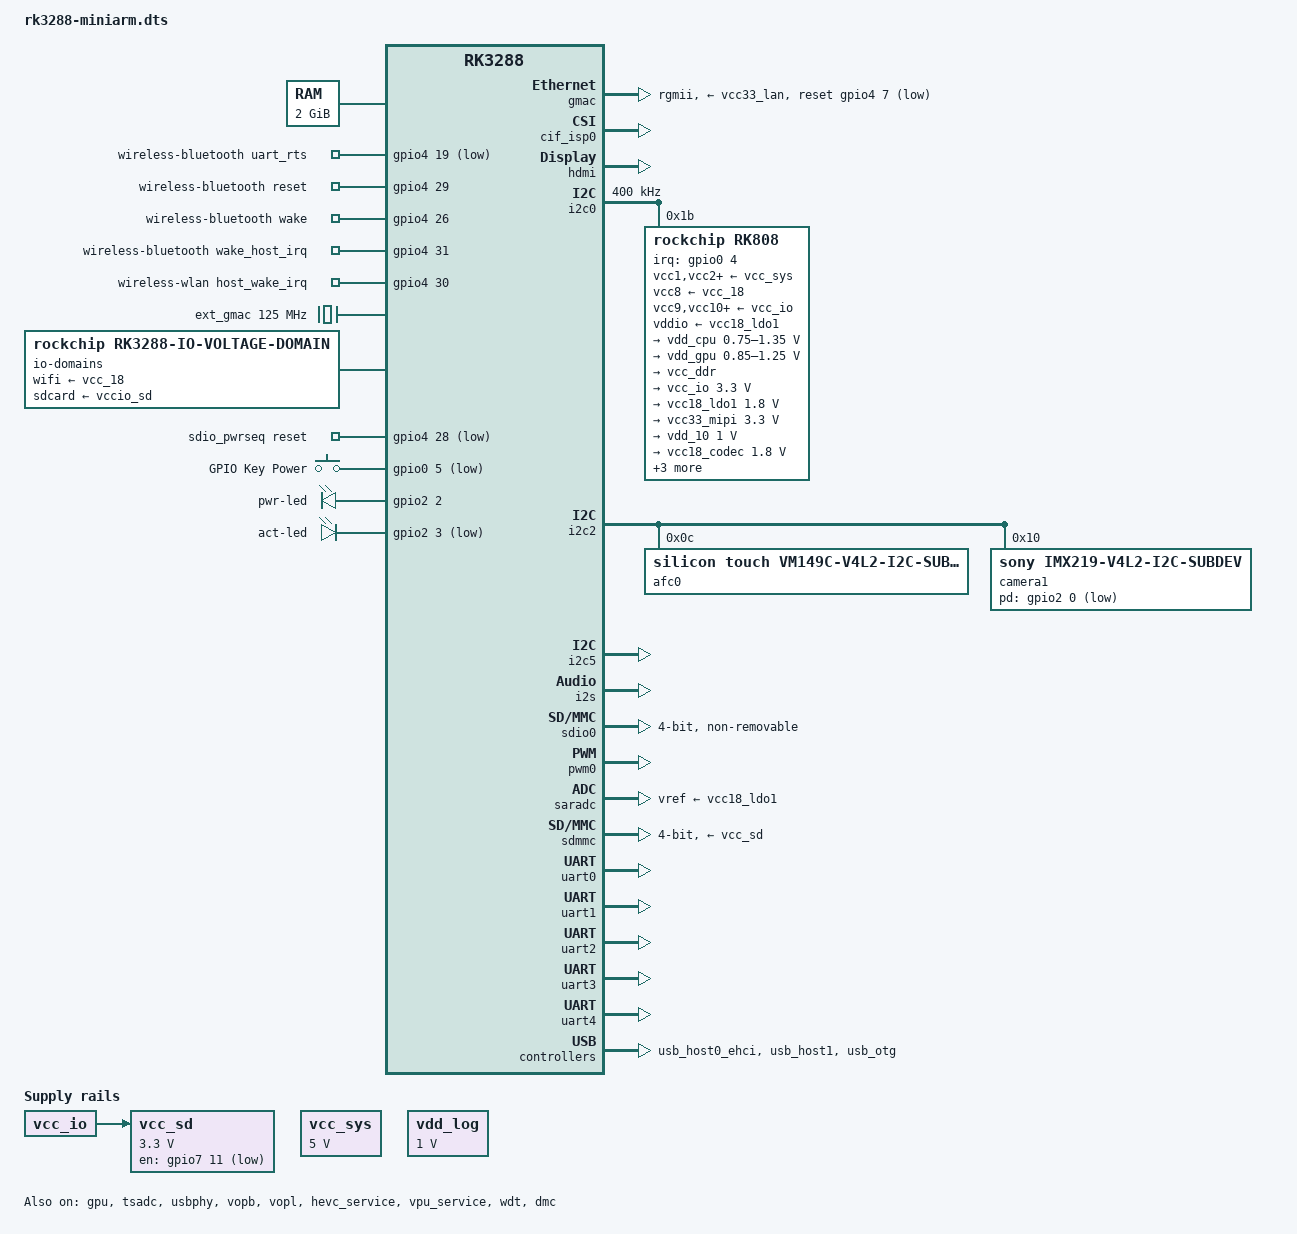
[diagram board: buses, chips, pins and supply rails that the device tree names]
/*
 * This file is dual-licensed: you can use it either under the terms
 * of the GPL or the X11 license, at your option. Note that this dual
 * licensing only applies to this file, and not this project as a
 * whole.
 *
 *  a) This file is free software; you can redistribute it and/or
 *     modify it under the terms of the GNU General Public License as
 *     published by the Free Software Foundation; either version 2 of the
 *     License, or (at your option) any later version.
 *
 *     This file is distributed in the hope that it will be useful,
 *     but WITHOUT ANY WARRANTY; without even the implied warranty of
 *     MERCHANTABILITY or FITNESS FOR A PARTICULAR PURPOSE.  See the
 *     GNU General Public License for more details.
 *
 * Or, alternatively,
 *
 *  b) Permission is hereby granted, free of charge, to any person
 *     obtaining a copy of this software and associated documentation
 *     files (the "Software"), to deal in the Software without
 *     restriction, including without limitation the rights to use,
 *     copy, modify, merge, publish, distribute, sublicense, and/or
 *     sell copies of the Software, and to permit persons to whom the
 *     Software is furnished to do so, subject to the following
 *     conditions:
 *
 *     The above copyright notice and this permission notice shall be
 *     included in all copies or substantial portions of the Software.
 *
 *     THE SOFTWARE IS PROVIDED "AS IS", WITHOUT WARRANTY OF ANY KIND,
 *     EXPRESS OR IMPLIED, INCLUDING BUT NOT LIMITED TO THE WARRANTIES
 *     OF MERCHANTABILITY, FITNESS FOR A PARTICULAR PURPOSE AND
 *     NONINFRINGEMENT. IN NO EVENT SHALL THE AUTHORS OR COPYRIGHT
 *     HOLDERS BE LIABLE FOR ANY CLAIM, DAMAGES OR OTHER LIABILITY,
 *     WHETHER IN AN ACTION OF CONTRACT, TORT OR OTHERWISE, ARISING
 *     FROM, OUT OF OR IN CONNECTION WITH THE SOFTWARE OR THE USE OR
 *     OTHER DEALINGS IN THE SOFTWARE.
 */

/dts-v1/;

#include <dt-bindings/clock/rockchip,rk808.h>
#include "rk3288.dtsi"

/ {
	compatible = "rockchip,rk3288-miniarm", "rockchip,rk3288";

	ion {
		compatible = "rockchip,ion";
		#address-cells = <1>;
		#size-cells = <0>;

		cma-heap {
			reg = <0x78000000 0x08000000>;
		};

		system-heap {
		};
	};

	memory {
		device_type = "memory";
		reg = <0x0 0x80000000>;
	};

	wireless-bluetooth {
		compatible = "bluetooth-platdata";
		uart_rts_gpios = <&gpio4 19 GPIO_ACTIVE_LOW>;
		pinctrl-names = "default","rts_gpio";
		pinctrl-0 = <&uart0_rts>;
		pinctrl-1 = <&uart0_gpios>;
		BT,reset_gpio    = <&gpio4 29 GPIO_ACTIVE_HIGH>;
		BT,wake_gpio     = <&gpio4 26 GPIO_ACTIVE_HIGH>;
		BT,wake_host_irq = <&gpio4 31 GPIO_ACTIVE_HIGH>;
		status = "okay";
	};

	wireless-wlan {
		compatible = "wlan-platdata";
		rockchip,grf = <&grf>;
		wifi_chip_type = "ap6212";
		sdio_vref = <1800>;
		WIFI,host_wake_irq = <&gpio4 30 GPIO_ACTIVE_HIGH>;
		status = "okay";
	};

	ext_gmac: external-gmac-clock {
		compatible = "fixed-clock";
		clock-frequency = <125000000>;
		clock-output-names = "ext_gmac";
		#clock-cells = <0>;
	};

	io-domains {
		compatible = "rockchip,rk3288-io-voltage-domain";
		rockchip,grf = <&grf>;
		wifi-supply = <&vcc_18>;
		sdcard-supply = <&vccio_sd>;
	};

	sdio_pwrseq: sdio-pwrseq {
		compatible = "mmc-pwrseq-simple";
		clocks = <&rk808 RK808_CLKOUT1>;
		clock-names = "ext_clock";
		pinctrl-names = "default";
		pinctrl-0 = <&wifi_enable_h>;

		/*
		 * On the module itself this is one of these (depending
		 * on the actual card populated):
		 * - SDIO_RESET_L_WL_REG_ON
		 * - PDN (power down when low)
		 */
		reset-gpios = <&gpio4 28 GPIO_ACTIVE_LOW>;
	};

	gpio-keys {
		compatible = "gpio-keys";
		#address-cells = <1>;
		#size-cells = <0>;
		autorepeat;

		pinctrl-names = "default";
		pinctrl-0 = <&pwrbtn>;

		button@0 {
			gpios = <&gpio0 5 GPIO_ACTIVE_LOW>;
			linux,code = <116>;
			label = "GPIO Key Power";
			linux,input-type = <1>;
			gpio-key,wakeup = <1>;
			debounce-interval = <100>;
		};
	};

	gpio-leds {
		compatible = "gpio-leds";

		pwr-led {
			gpios = <&gpio2 2 GPIO_ACTIVE_HIGH>;
			linux,default-trigger = "default-on";
		};

		act-led {
			gpios=<&gpio2 3 GPIO_ACTIVE_LOW>;
			linux,default-trigger="mmc0";
		};
	};

	sound {
		compatible = "simple-audio-card";
		simple-audio-card,format = "i2s";
		simple-audio-card,name = "rockchip,miniarm-codec";
		simple-audio-card,mclk-fs = <512>;
		simple-audio-card,cpu {
			sound-dai = <&i2s>;
		};
		simple-audio-card,codec {
			sound-dai = <&hdmi>;
		};
	};

	vcc_sys: vsys-regulator {
		compatible = "regulator-fixed";
		regulator-name = "vcc_sys";
		regulator-min-microvolt = <5000000>;
		regulator-max-microvolt = <5000000>;
		regulator-always-on;
		regulator-boot-on;
	};

	/*
	 * NOTE: vcc_sd isn't hooked up on v1.0 boards where power comes from
	 * vcc_io directly.  Those boards won't be able to power cycle SD cards
	 * but it shouldn't hurt to toggle this pin there anyway.
	 */
	vcc_sd: sdmmc-regulator {
		compatible = "regulator-fixed";
		gpio = <&gpio7 11 GPIO_ACTIVE_LOW>;
		pinctrl-names = "default";
		pinctrl-0 = <&sdmmc_pwr>;
		regulator-name = "vcc_sd";
		regulator-min-microvolt = <3300000>;
		regulator-max-microvolt = <3300000>;
		startup-delay-us = <100000>;
		vin-supply = <&vcc_io>;
	};

	vdd_log: vdd_log {
		compatible = "regulator-fixed";
		regulator-min-microvolt = <1000000>;
		regulator-max-microvolt = <1000000>;
		regulator-name = "vdd_logic";
	};
};

&cpu0 {
	cpu0-supply = <&vdd_cpu>;
};

&gmac {
	phy-supply = <&vcc33_lan>;
	phy-mode = "rgmii";
	clock_in_out = "input";
	snps,reset-gpio = <&gpio4 7 0>;
	snps,reset-active-low;
	snps,reset-delays-us = <0 10000 1000000>;
	assigned-clocks = <&cru SCLK_MAC>;
	assigned-clock-parents = <&ext_gmac>;
	pinctrl-names = "default";
	pinctrl-0 = <&rgmii_pins>;
	tx_delay = <0x30>;
	rx_delay = <0x10>;
	status = "ok";
};

&cif_isp0 {
	rockchip,camera-modules-attached = <&camera1>;
	status = "okay";
};

&gpu {
	mali-supply = <&vdd_gpu>;
	status = "okay";
};

&hdmi {
	#address-cells = <1>;
	#size-cells = <0>;
	#sound-dai-cells = <0>;
	pinctrl-names = "default";
	pinctrl-0 = <&hdmi_ddc>;
	status = "okay";
	/* Don't use vopl for HDMI */
	ports {
		hdmi_in: port {
			/delete-node/ endpoint@1;
		};
	};
};

&i2c0 {
	status = "okay";
	clock-frequency = <400000>;

	rk808: pmic@1b {
		compatible = "rockchip,rk808";
		reg = <0x1b>;
		interrupt-parent = <&gpio0>;
		interrupts = <4 IRQ_TYPE_LEVEL_LOW>;
		pinctrl-names = "default";
		pinctrl-0 = <&pmic_int &global_pwroff>;
		rockchip,system-power-controller;
		wakeup-source;
		#clock-cells = <1>;
		clock-output-names = "xin32k", "rk808-clkout2";

		vcc1-supply = <&vcc_sys>;
		vcc2-supply = <&vcc_sys>;
		vcc3-supply = <&vcc_sys>;
		vcc4-supply = <&vcc_sys>;
		vcc6-supply = <&vcc_sys>;
		vcc7-supply = <&vcc_sys>;
		vcc8-supply = <&vcc_18>;
		vcc9-supply = <&vcc_io>;
		vcc10-supply = <&vcc_io>;
		vcc11-supply = <&vcc_sys>;
		vcc12-supply = <&vcc_io>;
		vddio-supply = <&vcc18_ldo1>;

		regulators {
			vdd_cpu: DCDC_REG1 {
				regulator-always-on;
				regulator-boot-on;
				regulator-min-microvolt = <750000>;
				regulator-max-microvolt = <1350000>;
				regulator-name = "vdd_arm";
				regulator-state-mem {
					regulator-off-in-suspend;
				};
			};

			vdd_gpu: DCDC_REG2 {
				regulator-always-on;
				regulator-boot-on;
				regulator-min-microvolt = <850000>;
				regulator-max-microvolt = <1250000>;
				regulator-name = "vdd_gpu";
				regulator-ramp-delay = <6000>;
				regulator-state-mem {
					regulator-on-in-suspend;
					regulator-suspend-microvolt = <1000000>;
				};
			};

			vcc_ddr: DCDC_REG3 {
				regulator-always-on;
				regulator-boot-on;
				regulator-name = "vcc_ddr";
				regulator-state-mem {
					regulator-on-in-suspend;
				};
			};

			vcc_io: DCDC_REG4 {
				regulator-always-on;
				regulator-boot-on;
				regulator-min-microvolt = <3300000>;
				regulator-max-microvolt = <3300000>;
				regulator-name = "vcc_io";
				regulator-state-mem {
					regulator-on-in-suspend;
					regulator-suspend-microvolt = <3300000>;
				};
			};

			vcc18_ldo1: LDO_REG1 {
				regulator-always-on;
				regulator-boot-on;
				regulator-min-microvolt = <1800000>;
				regulator-max-microvolt = <1800000>;
				regulator-name = "vcc18_ldo1";
				regulator-state-mem {
					regulator-on-in-suspend;
					regulator-suspend-microvolt = <1800000>;
				};
			};

			vcc33_mipi: LDO_REG2 {
				regulator-always-on;
				regulator-boot-on;
				regulator-min-microvolt = <3300000>;
				regulator-max-microvolt = <3300000>;
				regulator-name = "vcc33_mipi";
				regulator-state-mem {
					regulator-off-in-suspend;
				};
			};

			vdd_10: LDO_REG3 {
				regulator-always-on;
				regulator-boot-on;
				regulator-min-microvolt = <1000000>;
				regulator-max-microvolt = <1000000>;
				regulator-name = "vdd_10";
				regulator-state-mem {
					regulator-on-in-suspend;
					regulator-suspend-microvolt = <1000000>;
				};
			};

			vcc18_codec: LDO_REG4 {
				regulator-always-on;
				regulator-boot-on;
				regulator-min-microvolt = <1800000>;
				regulator-max-microvolt = <1800000>;
				regulator-name = "vcc18_codec";
				regulator-state-mem {
					regulator-on-in-suspend;
					regulator-suspend-microvolt = <1800000>;
				};
			};

			vccio_sd: LDO_REG5 {
				regulator-always-on;
				regulator-boot-on;
				regulator-min-microvolt = <1800000>;
				regulator-max-microvolt = <3300000>;
				regulator-name = "vccio_sd";
				regulator-state-mem {
					regulator-on-in-suspend;
					regulator-suspend-microvolt = <3300000>;
				};
			};

			vdd10_lcd: LDO_REG6 {
				regulator-always-on;
				regulator-boot-on;
				regulator-min-microvolt = <1000000>;
				regulator-max-microvolt = <1000000>;
				regulator-name = "vdd10_lcd";
				regulator-state-mem {
					regulator-on-in-suspend;
					regulator-suspend-microvolt = <1000000>;
				};
			};

			vcc_18: LDO_REG7 {
				regulator-always-on;
				regulator-boot-on;
				regulator-min-microvolt = <1800000>;
				regulator-max-microvolt = <1800000>;
				regulator-name = "vcc_18";
				regulator-state-mem {
					regulator-on-in-suspend;
					regulator-suspend-microvolt = <1800000>;
				};
			};

			vcc18_lcd: LDO_REG8 {
				regulator-always-on;
				regulator-boot-on;
				regulator-min-microvolt = <1800000>;
				regulator-max-microvolt = <1800000>;
				regulator-name = "vcc18_lcd";
				regulator-state-mem {
					regulator-on-in-suspend;
					regulator-suspend-microvolt = <1800000>;
				};
			};

			vcc33_sd: SWITCH_REG1 {
				regulator-always-on;
				regulator-boot-on;
				regulator-name = "vcc33_sd";
				regulator-state-mem {
					regulator-on-in-suspend;
				};
			};

			vcc33_lan: SWITCH_REG2 {
				regulator-always-on;
				regulator-boot-on;
				regulator-name = "vcc33_lan";
				regulator-state-mem {
					regulator-on-in-suspend;
				};
			};
		};
	};
};

&i2c2 {
	status = "okay";

	afc0:af-controller@0 {
		status = "okay";
		compatible = "silicon touch,vm149C-v4l2-i2c-subdev";
		reg = < 0x0c >;
	};

	camera1:camera-module@1 {
		status = "okay";
		compatible = "sony,imx219-v4l2-i2c-subdev";
		reg = < 0x10 >;
		device_type = "v4l2-i2c-subdev";
		clocks = <&cru SCLK_CIFOUT>;
		clock-names = "clk_cif_out";
		pinctrl-names = "default", "sleep";
		pinctrl-0 = <&cam0_default_pins>;
		pinctrl-1 = <&cam0_sleep_pins>;
		rockchip,pd-gpio = <&gpio2 0 GPIO_ACTIVE_LOW>;
		rockchip,pd-gpio-is_active_low;
		rockchip,camera-module-regulator-names = "vcc33_mipi";
		rockchip,camera-module-regulator-voltages = <3300000>;
		rockchip,camera-module-dovdd = "1.8v";
		rockchip,camera-module-facing = "back";
		rockchip,camera-module-name = "cmk-cb0695-fv1";
		rockchip,camera-module-len-name = "lg9569a2";
		rockchip,camera-module-fov-h = "66.0";
		rockchip,camera-module-fov-v = "50.1";
		rockchip,camera-module-orientation = <0>;
		rockchip,camera-module-iq-flip = <0>;
		rockchip,camera-module-iq-mirror = <0>;
		rockchip,camera-module-flip = <0>;
		rockchip,camera-module-mirror = <0>;

		/* resolution.w, resolution.h, defrect.left, defrect.top, defrect.w, defrect.h */
		rockchip,camera-module-defrect0 = <3264 2448 0 0 3264 2448>;
		rockchip,camera-module-flash-support = <0>;
		rockchip,camera-module-mipi-dphy-index = <0>;
	};
};

&i2c5 {
	status = "okay";
};

&i2s {
	#sound-dai-cells = <0>;
	status = "okay";
};

&sdio0 {
	status = "okay";
	clock-frequency = <50000000>;
	clock-freq-min-max = <200000 50000000>;
	bus-width = <4>;
	cap-sd-highspeed;
	cap-sdio-irq;
	disable-wp;
	keep-power-in-suspend;
	mmc-pwrseq = <&sdio_pwrseq>;
	non-removable;
	num-slots = <1>;
	pinctrl-names = "default";
	pinctrl-0 = <&sdio0_bus4 &sdio0_cmd &sdio0_clk>;
	sd-uhs-sdr104;
	supports-sdio;
};

&pwm0 {
	status = "okay";
};

&saradc {
	vref-supply = <&vcc18_ldo1>;
	status ="okay";
};

&sdmmc {
	bus-width = <4>;
	cap-mmc-highspeed;
	cap-sd-highspeed;
	sd-uhs-sdr12;
	sd-uhs-sdr25;
	sd-uhs-sdr50;
	sd-uhs-sdr104;
	card-detect-delay = <200>;
	disable-wp;			/* wp not hooked up */
	num-slots = <1>;
	pinctrl-names = "default";
	pinctrl-0 = <&sdmmc_clk &sdmmc_cmd &sdmmc_cd &sdmmc_bus4>;
	status = "okay";
	supports-sd;
	vmmc-supply = <&vcc_sd>;
	vqmmc-supply = <&vccio_sd>;
};

&tsadc {
	rockchip,hw-tshut-mode = <1>; /* tshut mode 0:CRU 1:GPIO */
	rockchip,hw-tshut-polarity = <1>; /* tshut polarity 0:LOW 1:HIGH */
	status = "okay";
};

&uart0 {
	dmas = <&dmac_peri 1>, <&dmac_peri 2>;
	dma-names = "tx", "rx";
	pinctrl-names = "default";
	pinctrl-0 = <&uart0_xfer>, <&uart0_cts>;
	status = "okay";
};

&uart1 {
	status = "okay";
};

&uart2 {
	status = "okay";
};

&uart3 {
	status = "okay";
};

&uart4 {
	status = "okay";
};

&usbphy {
	status = "okay";
};

&usb_host0_ehci {
	no-relinquish-port;
	status = "okay";
};

&usb_host1 {
	status = "okay";
};

&usb_otg {
	status= "okay";
};

&vopb {
	status = "okay";
};

&vopb_mmu {
	status = "okay";
};

&vopl {
	status = "okay";
	/* Don't use vopl for HDMI */
	vopl_out: port {
		/delete-node/ endpoint@0;
	};
};

&vopl_mmu {
	status = "okay";
};

&hevc_service {
	status = "okay";
};

&vpu_service {
	status = "okay";
};

&wdt {
	status = "okay";
};

&pinctrl {
	pcfg_pull_none_drv_8ma: pcfg-pull-none-drv-8ma {
		drive-strength = <8>;
	};

	pcfg_pull_up_drv_8ma: pcfg-pull-up-drv-8ma {
		bias-pull-up;
		drive-strength = <8>;
	};

	backlight {
		bl_en: bl-en {
			rockchip,pins = <7 2 RK_FUNC_GPIO &pcfg_pull_none>;
		};
	};

	buttons {
		pwrbtn: pwrbtn {
			rockchip,pins = <0 5 RK_FUNC_GPIO &pcfg_pull_up>;
		};
	};

	eth_phy {
		eth_phy_pwr: eth-phy-pwr {
			rockchip,pins = <0 6 RK_FUNC_GPIO &pcfg_pull_none>;
		};
	};

	pmic {
		pmic_int: pmic-int {
			rockchip,pins = <RK_GPIO0 4 RK_FUNC_GPIO &pcfg_pull_up>;
		};
	};

	sdio-pwrseq {
		wifi_enable_h: wifi-enable-h {
			rockchip,pins = <4 28 RK_FUNC_GPIO &pcfg_pull_none>;
		};
	};

	sdmmc {
		/*
		 * Default drive strength isn't enough to achieve even
		 * high-speed mode on EVB board so bump up to 8ma.
		 */
		sdmmc_bus4: sdmmc-bus4 {
			rockchip,pins = <6 16 RK_FUNC_1 &pcfg_pull_up_drv_8ma>,
					<6 17 RK_FUNC_1 &pcfg_pull_up_drv_8ma>,
					<6 18 RK_FUNC_1 &pcfg_pull_up_drv_8ma>,
					<6 19 RK_FUNC_1 &pcfg_pull_up_drv_8ma>;
		};

		sdmmc_clk: sdmmc-clk {
			rockchip,pins = <6 20 RK_FUNC_1 &pcfg_pull_none_drv_8ma>;
		};

		sdmmc_cmd: sdmmc-cmd {
			rockchip,pins = <6 21 RK_FUNC_1 &pcfg_pull_up_drv_8ma>;
		};

		sdmmc_pwr: sdmmc-pwr {
			rockchip,pins = <7 11 RK_FUNC_GPIO &pcfg_pull_none>;
		};
	};

	usb {
		host_vbus_drv: host-vbus-drv {
			rockchip,pins = <0 14 RK_FUNC_GPIO &pcfg_pull_none>;
		};

		pwr_3g: pwr-3g {
			rockchip,pins = <7 8 RK_FUNC_GPIO &pcfg_pull_none>;
		};
	};

	wireless-bluetooth {
		uart0_gpios: uart0-gpios {
			rockchip,pins = <4 19 RK_FUNC_GPIO &pcfg_pull_none>;
		};
	};

	cam_pins {
		cam0_default_pins:cam0_default_pins {
			rockchip,pins = <0 17 RK_FUNC_GPIO &pcfg_pull_none>,/*sensor power pin: GPIO0_C1 */
			<2 0 RK_FUNC_GPIO &pcfg_pull_none>,/*sensor power down pin: GPIO2_A0*/
			<2 11 RK_FUNC_1 &pcfg_pull_none>;/*sensor mclk: cif_clkout*/
		};

		cam0_sleep_pins:cam0_sleep_pins {
			rockchip,pins = <0 17 RK_FUNC_GPIO &pcfg_pull_none>,/*sensor power pin: GPIO0_C1 */
			<2 0 RK_FUNC_GPIO &pcfg_pull_none>,/* cif power down pin */
			<2 11 RK_FUNC_GPIO &pcfg_pull_none>;/* cif_clkout */
		};
	};
};

&dmc {
	status = "okay";
	logic-supply = <&vdd_log>;
	rockchip,odt-disable-freq = <333000000>;
	rockchip,dll-disable-freq = <333000000>;
	rockchip,sr-enable-freq = <333000000>;
	rockchip,auto-self-refresh-cnt = <0>;
	rockchip,auto-power-down-cnt = <64>;
	rockchip,ddr-speed-bin = <21>;
	rockchip,trcd = <10>;
	rockchip,trp = <10>;
	rockchip,pd-enable-freq = <533000000>;
	operating-points = <
		/* KHz    uV */
		200000 1000000
		333000 1000000
		533000 1000000
	>;

	#cooling-cells = <2>; /* min followed by max */
};
